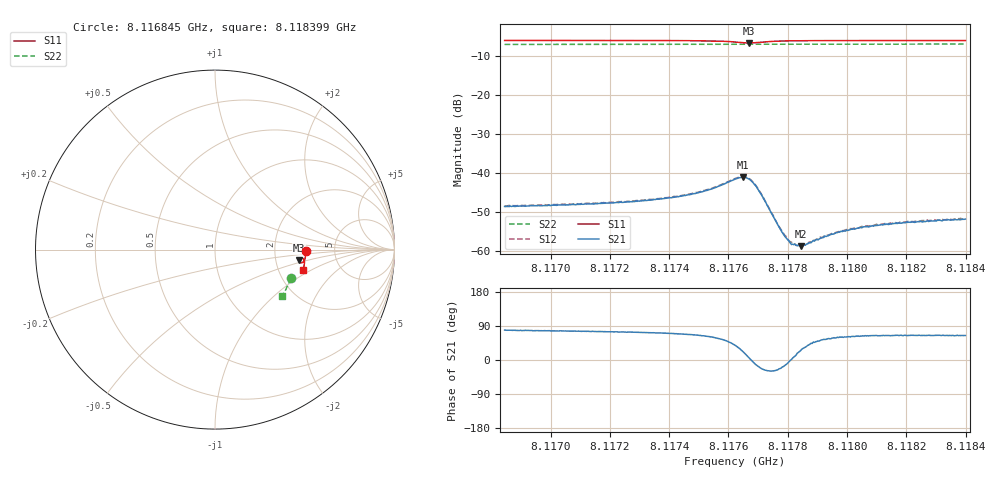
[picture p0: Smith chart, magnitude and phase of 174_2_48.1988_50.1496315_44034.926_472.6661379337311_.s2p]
#  HZ  S  RI  R  50.00
! Rohde & Schwarz Vector Network Analyzer
! Rohde-Schwarz,ZNB20-2Port,1311601062101988,3.16
! Created: UTC 3/20/2024, 11:43:51 AM
! freq[Hz]  re:S11  im:S11  re:S21  im:S21  re:S12  im:S12  re:S22  im:S22
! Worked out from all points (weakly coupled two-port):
!   401 points, 8.116845 GHz to 8.118399 GHz, reference 50 ohm
!   highest |S21| = -41.02 dB at 8.117649 GHz (marker M1); lowest = -58.7 dB at 8.117844 GHz (marker M2)
!   lowest |S11| = -6.6 dB at 8.117669 GHz (marker M3), VSWR 2.77, Z = 135 - j20.4 ohm
!   |S11| at or under -10 dB: nowhere
!   |S22| runs from -6.9 to -6.8 dB; largest |S21 - S12| = 0.00022
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8.1168445e9  0.5063 -0.00502  0.000719 0.00367  0.00075 0.00374  0.4215 -0.1591
8.117105e9  0.5053 -0.0255  0.00101 0.00389  0.00103 0.00395  0.4153 -0.176
8.1173655e9  0.5023 -0.0477  0.00148 0.00441  0.00157 0.00445  0.4085 -0.1932
8.1175015e9  0.4979 -0.0616  0.00241 0.00513  0.0025 0.00521  0.4046 -0.202
8.117552e9  0.4937 -0.068  0.00329 0.00556  0.00343 0.00563  0.4029 -0.2052
8.117622e9  0.4784 -0.074  0.00652 0.00527  0.00669 0.00532  0.4002 -0.2097
8.1176492e9  0.4687 -0.0683  0.00824 0.00332  0.00842 0.00328  0.3991 -0.2107
8.1176687e9  0.4663 -0.0587  0.0084 0.000892  0.00854 0.000834  0.3984 -0.2114
8.1176842e9  0.4694 -0.0512  0.00743 -0.000823  0.00756 -0.000911  0.3983 -0.2122
8.1176998e9  0.4754 -0.0469  0.00595 -0.00177  0.00606 -0.00186  0.3982 -0.213
8.1177697e9  0.494 -0.0536  0.00189 -0.00084  0.00189 -0.000911  0.3968 -0.2176
8.1177931e9  0.4961 -0.0574  0.00146 -0.000331  0.00153 -0.000361  0.3963 -0.2193
8.1178125e9  0.4971 -0.0601  0.00121 2.58e-05  0.00131 3.81e-05  0.3957 -0.2206
8.1178242e9  0.4976 -0.0618  0.00121 0.000219  0.00121 0.000255  0.3953 -0.2212
8.1178436e9  0.4981 -0.0644  0.00105 0.000487  0.00105 0.000504  0.3948 -0.2226
8.1178825e9  0.4985 -0.0692  0.000958 0.000914  0.000917 0.000908  0.3934 -0.225
8.1179486e9  0.4985 -0.076  0.000887 0.00139  0.000924 0.00141  0.3913 -0.2291
8.118003e9  0.4979 -0.0814  0.00088 0.00162  0.000927 0.00168  0.3894 -0.2328
8.1180613e9  0.4972 -0.0865  0.000891 0.00185  0.00095 0.00187  0.3876 -0.2363
8.1181429e9  0.4962 -0.0932  0.000959 0.00199  0.000993 0.00205  0.3847 -0.2413
8.1182634e9  0.4943 -0.1029  0.00102 0.00215  0.00106 0.00223  0.3805 -0.2487
8.1183995e9  0.492 -0.1132  0.0011 0.00233  0.00113 0.00233  0.3756 -0.2567
